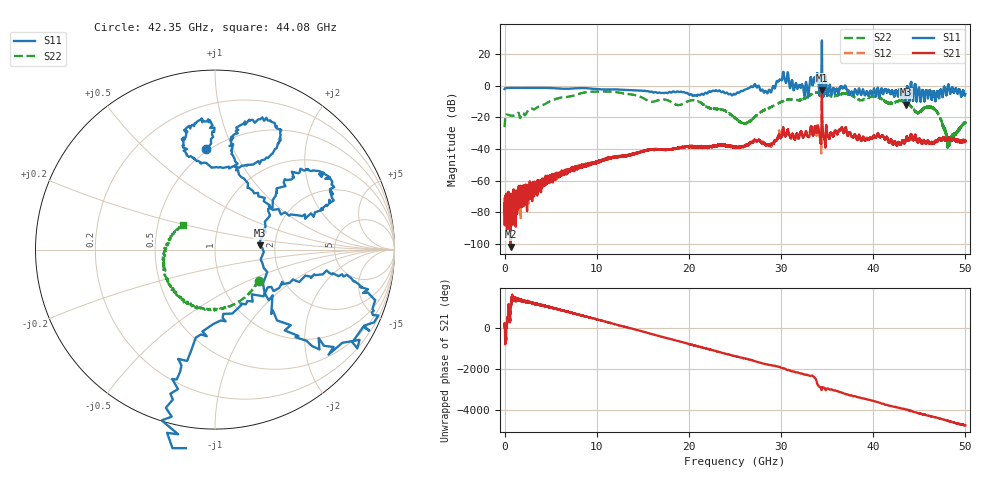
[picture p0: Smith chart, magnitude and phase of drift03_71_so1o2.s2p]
!Created with skrf (http://scikit-rf.org).
# Hz S RI R 50.0
!freq ReS11 ImS11 ReS21 ImS21 ReS12 ImS12 ReS22 ImS22
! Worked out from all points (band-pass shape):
!   10000 points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, 5.3 MHz to 50 GHz, reference 50 ohm
!   highest |S21| = -2.70 dB at 34.43 GHz (marker M1); lowest = -101.7 dB at 645.3 MHz (marker M2)
!   |S21| within 3 dB of the highest: 34.42747 GHz to 34.43392 GHz (6.447 MHz wide, 0.0187 % of centre)
!   lowest |S11| = -12.1 dB at 43.52 GHz (marker M3), VSWR 1.67, Z = 83 + j4.06 ohm
!   |S11| at or under -10 dB: 43.48631 GHz to 43.54504 GHz (58.73 MHz wide, 0.135 % of centre); 45.11981 GHz to 45.12102 GHz (1.215 MHz wide, 0.00269 % of centre); 45.13216 GHz to 45.13839 GHz (6.228 MHz wide, 0.0138 % of centre)
!   |S22| runs from -39.3 to -3.6 dB; largest |S21 - S12| = 0.24
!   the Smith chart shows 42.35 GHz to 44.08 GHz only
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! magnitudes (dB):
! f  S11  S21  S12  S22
! 5.3 MHz  -2.1  -78.1  -82.3  -26.1
! 645.3 MHz  -1.4  -101.7  -72.4  -18.8
! 2.045 GHz  -1.3  -74.6  -71.7  -17.4
! 8.34 GHz  -1.5  -50.1  -50.5  -4.7
! 16.67 GHz  -4.4  -40.3  -40.2  -9.2
! 20.72 GHz  -6.2  -38.8  -38.7  -9.3
! 25.01 GHz  -5.5  -39.1  -38.7  -20.4
! 26.2 GHz  -2.3  -37.6  -37.4  -23.7
! 27.36 GHz  -1.1  -34.9  -35.0  -18.6
! 28.72 GHz  -2.5  -37.6  -37.7  -14.1
! 30.14 GHz  4.4  -29.5  -29.8  -9.9
! 32.74 GHz  2.0  -29.5  -29.2  -7.3
! 33.34 GHz  2.6  -27.5  -27.6  -5.2
! 33.82 GHz  4.0  -29.1  -29.5  -4.4
! 34.43 GHz  28.6  -2.7  -4.8  -4.0
! 36.48 GHz  -0.5  -27.9  -27.9  -5.4
! 41.67 GHz  -2.8  -35.5  -35.7  -11.0
! 43.52 GHz  -12.1  -34.4  -34.6  -10.4
! 44.78 GHz  -7.1  -35.1  -35.0  -17.2
! 46.69 GHz  -6.4  -35.7  -36.0  -14.9
! 48.22 GHz  -0.1  -32.6  -32.8  -37.0
! 50 GHz  -5.2  -34.9  -35.1  -23.7
